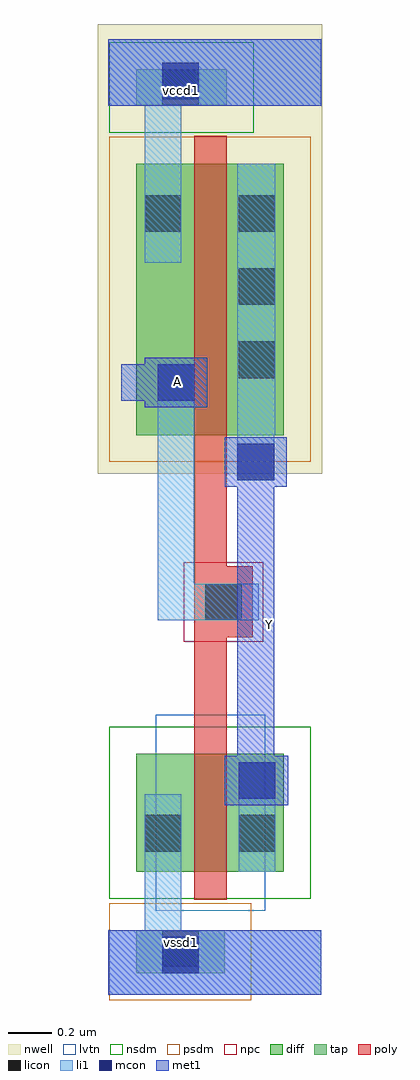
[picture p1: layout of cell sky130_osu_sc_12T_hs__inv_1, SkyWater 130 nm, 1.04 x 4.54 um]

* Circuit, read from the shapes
.subckt sky130_osu_sc_12T_hs__inv_1 A Y vccd1 vssd1
XM1 Y A vssd1 vssd1 sky130_fd_pr__nfet_01v8_lvt w=0.55 l=0.15
XM2 Y A vccd1 vccd1 sky130_fd_pr__pfet_01v8 w=1.26 l=0.15
.ends

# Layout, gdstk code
import gdstk
lib = gdstk.Library(unit=1e-6, precision=1e-09)
def R(c, l, rs):  # rectangles x0, y0, x1, y1
    for r in rs: c.add(gdstk.rectangle(r[:2], r[2:], *l))
nwell = (64, 20)
diff = (65, 20)
tap = (65, 44)
poly = (66, 20)
licon = (66, 44)
li1 = (67, 20)
mcon = (67, 44)
met1 = (68, 20)
nsdm = (93, 44)
psdm = (94, 20)
npc = (95, 20)
lvtn = (125, 44)

sky130_osu_sc_12t_hs__in = lib.new_cell('sky130_osu_sc_12T_hs__inv_1')
R(sky130_osu_sc_12t_hs__in, nwell, [(-0.05,2.42,0.995,4.51), (-0.05,2.42,0.995,4.51), (-0.05,2.42,0.995,4.51), (-0.05,2.42,0.995,4.51), (-0.05,2.42,0.995,4.51), (-0.05,2.42,0.995,4.51), (-0.05,2.42,0.995,4.51), (-0.05,2.42,0.995,4.51), (-0.05,2.42,0.995,4.51), (-0.05,2.42,0.995,4.51), (-0.05,2.42,0.995,4.51), (-0.05,2.42,0.995,4.51), (-0.05,2.42,0.995,4.51), (-0.05,2.42,0.995,4.51), (-0.05,2.42,0.995,4.51), (-0.05,2.42,0.995,4.51)])
R(sky130_osu_sc_12t_hs__in, diff, [(0.13,0.57,0.815,1.12), (0.13,0.57,0.815,1.12), (0.13,0.57,0.815,1.12), (0.13,0.57,0.815,1.12), (0.13,0.57,0.815,1.12), (0.13,0.57,0.815,1.12), (0.13,0.57,0.815,1.12), (0.13,0.57,0.815,1.12), (0.13,0.57,0.815,1.12), (0.13,0.57,0.815,1.12), (0.13,0.57,0.815,1.12), (0.13,0.57,0.815,1.12), (0.13,0.57,0.815,1.12), (0.13,0.57,0.815,1.12), (0.13,0.57,0.815,1.12), (0.13,0.57,0.815,1.12), (0.13,2.6,0.815,3.86), (0.13,2.6,0.815,3.86), (0.13,2.6,0.815,3.86), (0.13,2.6,0.815,3.86), (0.13,2.6,0.815,3.86), (0.13,2.6,0.815,3.86), (0.13,2.6,0.815,3.86), (0.13,2.6,0.815,3.86), (0.13,2.6,0.815,3.86), (0.13,2.6,0.815,3.86), (0.13,2.6,0.815,3.86), (0.13,2.6,0.815,3.86), (0.13,2.6,0.815,3.86), (0.13,2.6,0.815,3.86), (0.13,2.6,0.815,3.86), (0.13,2.6,0.815,3.86)])
R(sky130_osu_sc_12t_hs__in, tap, [(0.13,0.1,0.54,0.3), (0.13,0.1,0.54,0.3), (0.13,0.1,0.54,0.3), (0.13,0.1,0.54,0.3), (0.13,0.1,0.54,0.3), (0.13,0.1,0.54,0.3), (0.13,0.1,0.54,0.3), (0.13,0.1,0.54,0.3), (0.13,0.1,0.54,0.3), (0.13,0.1,0.54,0.3), (0.13,0.1,0.54,0.3), (0.13,0.1,0.54,0.3), (0.13,0.1,0.54,0.3), (0.13,0.1,0.54,0.3), (0.13,0.1,0.54,0.3), (0.13,0.1,0.54,0.3), (0.13,4.13,0.55,4.3), (0.13,4.13,0.55,4.3), (0.13,4.13,0.55,4.3), (0.13,4.13,0.55,4.3), (0.13,4.13,0.55,4.3), (0.13,4.13,0.55,4.3), (0.13,4.13,0.55,4.3), (0.13,4.13,0.55,4.3), (0.13,4.13,0.55,4.3), (0.13,4.13,0.55,4.3), (0.13,4.13,0.55,4.3), (0.13,4.13,0.55,4.3), (0.13,4.13,0.55,4.3), (0.13,4.13,0.55,4.3), (0.13,4.13,0.55,4.3), (0.13,4.13,0.55,4.3)])
R(sky130_osu_sc_12t_hs__in, poly, [(0.4,0.44,0.55,1.66), (0.4,0.44,0.55,1.66), (0.4,0.44,0.55,1.66), (0.4,0.44,0.55,1.66), (0.4,0.44,0.55,1.66), (0.4,0.44,0.55,1.66), (0.4,0.44,0.55,1.66), (0.4,0.44,0.55,1.66), (0.4,0.44,0.55,1.66), (0.4,0.44,0.55,1.66), (0.4,0.44,0.55,1.66), (0.4,0.44,0.55,1.66), (0.4,0.44,0.55,1.66), (0.4,0.44,0.55,1.66), (0.4,0.44,0.55,1.66), (0.4,0.44,0.55,1.66), (0.4,1.66,0.67,1.99), (0.4,1.66,0.67,1.99), (0.4,1.66,0.67,1.99), (0.4,1.66,0.67,1.99), (0.4,1.66,0.67,1.99), (0.4,1.66,0.67,1.99), (0.4,1.66,0.67,1.99), (0.4,1.66,0.67,1.99), (0.4,1.66,0.67,1.99), (0.4,1.66,0.67,1.99), (0.4,1.66,0.67,1.99), (0.4,1.66,0.67,1.99), (0.4,1.66,0.67,1.99), (0.4,1.66,0.67,1.99), (0.4,1.66,0.67,1.99), (0.4,1.66,0.67,1.99), (0.4,1.99,0.55,3.99), (0.4,1.99,0.55,3.99), (0.4,1.99,0.55,3.99), (0.4,1.99,0.55,3.99), (0.4,1.99,0.55,3.99), (0.4,1.99,0.55,3.99), (0.4,1.99,0.55,3.99), (0.4,1.99,0.55,3.99), (0.4,1.99,0.55,3.99), (0.4,1.99,0.55,3.99), (0.4,1.99,0.55,3.99), (0.4,1.99,0.55,3.99), (0.4,1.99,0.55,3.99), (0.4,1.99,0.55,3.99), (0.4,1.99,0.55,3.99), (0.4,1.99,0.55,3.99)])
R(sky130_osu_sc_12t_hs__in, licon, [(0.25,0.13,0.42,0.3), (0.25,0.13,0.42,0.3), (0.25,0.13,0.42,0.3), (0.25,0.13,0.42,0.3), (0.25,0.13,0.42,0.3), (0.25,0.13,0.42,0.3), (0.25,0.13,0.42,0.3), (0.25,0.13,0.42,0.3), (0.25,0.13,0.42,0.3), (0.25,0.13,0.42,0.3), (0.25,0.13,0.42,0.3), (0.25,0.13,0.42,0.3), (0.25,0.13,0.42,0.3), (0.25,0.13,0.42,0.3), (0.25,0.13,0.42,0.3), (0.25,0.13,0.42,0.3), (0.17,0.665,0.34,0.835), (0.17,0.665,0.34,0.835), (0.17,0.665,0.34,0.835), (0.17,0.665,0.34,0.835), (0.17,0.665,0.34,0.835), (0.17,0.665,0.34,0.835), (0.17,0.665,0.34,0.835), (0.17,0.665,0.34,0.835), (0.17,0.665,0.34,0.835), (0.17,0.665,0.34,0.835), (0.17,0.665,0.34,0.835), (0.17,0.665,0.34,0.835), (0.17,0.665,0.34,0.835), (0.17,0.665,0.34,0.835), (0.17,0.665,0.34,0.835), (0.17,0.665,0.34,0.835), (0.605,0.665,0.775,0.835), (0.605,0.665,0.775,0.835), (0.605,0.665,0.775,0.835), (0.605,0.665,0.775,0.835), (0.605,0.665,0.775,0.835), (0.605,0.665,0.775,0.835), (0.605,0.665,0.775,0.835), (0.605,0.665,0.775,0.835), (0.605,0.665,0.775,0.835), (0.605,0.665,0.775,0.835), (0.605,0.665,0.775,0.835), (0.605,0.665,0.775,0.835), (0.605,0.665,0.775,0.835), (0.605,0.665,0.775,0.835), (0.605,0.665,0.775,0.835), (0.605,0.665,0.775,0.835), (0.45,1.74,0.62,1.91), (0.45,1.74,0.62,1.91), (0.45,1.74,0.62,1.91), (0.45,1.74,0.62,1.91), (0.45,1.74,0.62,1.91), (0.45,1.74,0.62,1.91), (0.45,1.74,0.62,1.91), (0.45,1.74,0.62,1.91), (0.45,1.74,0.62,1.91), (0.45,1.74,0.62,1.91), (0.45,1.74,0.62,1.91), (0.45,1.74,0.62,1.91), (0.45,1.74,0.62,1.91), (0.45,1.74,0.62,1.91), (0.45,1.74,0.62,1.91), (0.45,1.74,0.62,1.91), (0.605,2.865,0.775,3.035), (0.605,2.865,0.775,3.035), (0.605,2.865,0.775,3.035), (0.605,2.865,0.775,3.035), (0.605,2.865,0.775,3.035), (0.605,2.865,0.775,3.035), (0.605,2.865,0.775,3.035), (0.605,2.865,0.775,3.035), (0.605,2.865,0.775,3.035), (0.605,2.865,0.775,3.035), (0.605,2.865,0.775,3.035), (0.605,2.865,0.775,3.035), (0.605,2.865,0.775,3.035), (0.605,2.865,0.775,3.035), (0.605,2.865,0.775,3.035), (0.605,2.865,0.775,3.035), (0.605,3.205,0.775,3.375), (0.605,3.205,0.775,3.375), (0.605,3.205,0.775,3.375), (0.605,3.205,0.775,3.375), (0.605,3.205,0.775,3.375), (0.605,3.205,0.775,3.375), (0.605,3.205,0.775,3.375), (0.605,3.205,0.775,3.375), (0.605,3.205,0.775,3.375), (0.605,3.205,0.775,3.375), (0.605,3.205,0.775,3.375), (0.605,3.205,0.775,3.375), (0.605,3.205,0.775,3.375), (0.605,3.205,0.775,3.375), (0.605,3.205,0.775,3.375), (0.605,3.205,0.775,3.375), (0.17,3.545,0.34,3.715), (0.17,3.545,0.34,3.715), (0.17,3.545,0.34,3.715), (0.17,3.545,0.34,3.715), (0.17,3.545,0.34,3.715), (0.17,3.545,0.34,3.715), (0.17,3.545,0.34,3.715), (0.17,3.545,0.34,3.715), (0.17,3.545,0.34,3.715), (0.17,3.545,0.34,3.715), (0.17,3.545,0.34,3.715), (0.17,3.545,0.34,3.715), (0.17,3.545,0.34,3.715), (0.17,3.545,0.34,3.715), (0.17,3.545,0.34,3.715), (0.17,3.545,0.34,3.715), (0.605,3.545,0.775,3.715), (0.605,3.545,0.775,3.715), (0.605,3.545,0.775,3.715), (0.605,3.545,0.775,3.715), (0.605,3.545,0.775,3.715), (0.605,3.545,0.775,3.715), (0.605,3.545,0.775,3.715), (0.605,3.545,0.775,3.715), (0.605,3.545,0.775,3.715), (0.605,3.545,0.775,3.715), (0.605,3.545,0.775,3.715), (0.605,3.545,0.775,3.715), (0.605,3.545,0.775,3.715), (0.605,3.545,0.775,3.715), (0.605,3.545,0.775,3.715), (0.605,3.545,0.775,3.715), (0.25,4.13,0.42,4.3), (0.25,4.13,0.42,4.3), (0.25,4.13,0.42,4.3), (0.25,4.13,0.42,4.3), (0.25,4.13,0.42,4.3), (0.25,4.13,0.42,4.3), (0.25,4.13,0.42,4.3), (0.25,4.13,0.42,4.3), (0.25,4.13,0.42,4.3), (0.25,4.13,0.42,4.3), (0.25,4.13,0.42,4.3), (0.25,4.13,0.42,4.3), (0.25,4.13,0.42,4.3), (0.25,4.13,0.42,4.3), (0.25,4.13,0.42,4.3), (0.25,4.13,0.42,4.3)])
R(sky130_osu_sc_12t_hs__in, li1, [(0,0,0.99,0.3), (0,0,0.99,0.3), (0,0,0.99,0.3), (0,0,0.99,0.3), (0,0,0.99,0.3), (0,0,0.99,0.3), (0,0,0.99,0.3), (0,0,0.99,0.3), (0,0,0.99,0.3), (0,0,0.99,0.3), (0,0,0.99,0.3), (0,0,0.99,0.3), (0,0,0.99,0.3), (0,0,0.99,0.3), (0,0,0.99,0.3), (0,0,0.99,0.3), (0.17,0.3,0.34,0.93), (0.17,0.3,0.34,0.93), (0.17,0.3,0.34,0.93), (0.17,0.3,0.34,0.93), (0.17,0.3,0.34,0.93), (0.17,0.3,0.34,0.93), (0.17,0.3,0.34,0.93), (0.17,0.3,0.34,0.93), (0.17,0.3,0.34,0.93), (0.17,0.3,0.34,0.93), (0.17,0.3,0.34,0.93), (0.17,0.3,0.34,0.93), (0.17,0.3,0.34,0.93), (0.17,0.3,0.34,0.93), (0.17,0.3,0.34,0.93), (0.17,0.3,0.34,0.93), (0.605,0.57,0.775,1.08), (0.605,0.57,0.775,1.08), (0.605,0.57,0.775,1.08), (0.605,0.57,0.775,1.08), (0.605,0.57,0.775,1.08), (0.605,0.57,0.775,1.08), (0.605,0.57,0.775,1.08), (0.605,0.57,0.775,1.08), (0.605,0.57,0.775,1.08), (0.605,0.57,0.775,1.08), (0.605,0.57,0.775,1.08), (0.605,0.57,0.775,1.08), (0.605,0.57,0.775,1.08), (0.605,0.57,0.775,1.08), (0.605,0.57,0.775,1.08), (0.605,0.57,0.775,1.08), (0.23,1.74,0.7,1.91), (0.23,1.74,0.7,1.91), (0.23,1.74,0.7,1.91), (0.23,1.74,0.7,1.91), (0.23,1.74,0.7,1.91), (0.23,1.74,0.7,1.91), (0.23,1.74,0.7,1.91), (0.23,1.74,0.7,1.91), (0.23,1.74,0.7,1.91), (0.23,1.74,0.7,1.91), (0.23,1.74,0.7,1.91), (0.23,1.74,0.7,1.91), (0.23,1.74,0.7,1.91), (0.23,1.74,0.7,1.91), (0.23,1.74,0.7,1.91), (0.23,1.74,0.7,1.91), (0.23,1.91,0.4,2.93), (0.23,1.91,0.4,2.93), (0.23,1.91,0.4,2.93), (0.23,1.91,0.4,2.93), (0.23,1.91,0.4,2.93), (0.23,1.91,0.4,2.93), (0.23,1.91,0.4,2.93), (0.23,1.91,0.4,2.93), (0.23,1.91,0.4,2.93), (0.23,1.91,0.4,2.93), (0.23,1.91,0.4,2.93), (0.23,1.91,0.4,2.93), (0.23,1.91,0.4,2.93), (0.23,1.91,0.4,2.93), (0.23,1.91,0.4,2.93), (0.23,1.91,0.4,2.93), (0.6,2.39,0.77,2.6), (0.6,2.39,0.77,2.6), (0.6,2.39,0.77,2.6), (0.6,2.39,0.77,2.6), (0.6,2.39,0.77,2.6), (0.6,2.39,0.77,2.6), (0.6,2.39,0.77,2.6), (0.6,2.39,0.77,2.6), (0.6,2.39,0.77,2.6), (0.6,2.39,0.77,2.6), (0.6,2.39,0.77,2.6), (0.6,2.39,0.77,2.6), (0.6,2.39,0.77,2.6), (0.6,2.39,0.77,2.6), (0.6,2.39,0.77,2.6), (0.6,2.39,0.77,2.6), (0.6,2.6,0.775,3.86), (0.6,2.6,0.775,3.86), (0.6,2.6,0.775,3.86), (0.6,2.6,0.775,3.86), (0.6,2.6,0.775,3.86), (0.6,2.6,0.775,3.86), (0.6,2.6,0.775,3.86), (0.6,2.6,0.775,3.86), (0.6,2.6,0.775,3.86), (0.6,2.6,0.775,3.86), (0.6,2.6,0.775,3.86), (0.6,2.6,0.775,3.86), (0.6,2.6,0.775,3.86), (0.6,2.6,0.775,3.86), (0.6,2.6,0.775,3.86), (0.6,2.6,0.775,3.86), (0.17,3.4,0.34,4.13), (0.17,3.4,0.34,4.13), (0.17,3.4,0.34,4.13), (0.17,3.4,0.34,4.13), (0.17,3.4,0.34,4.13), (0.17,3.4,0.34,4.13), (0.17,3.4,0.34,4.13), (0.17,3.4,0.34,4.13), (0.17,3.4,0.34,4.13), (0.17,3.4,0.34,4.13), (0.17,3.4,0.34,4.13), (0.17,3.4,0.34,4.13), (0.17,3.4,0.34,4.13), (0.17,3.4,0.34,4.13), (0.17,3.4,0.34,4.13), (0.17,3.4,0.34,4.13), (0,4.13,0.99,4.44), (0,4.13,0.99,4.44), (0,4.13,0.99,4.44), (0,4.13,0.99,4.44), (0,4.13,0.99,4.44), (0,4.13,0.99,4.44), (0,4.13,0.99,4.44), (0,4.13,0.99,4.44), (0,4.13,0.99,4.44), (0,4.13,0.99,4.44), (0,4.13,0.99,4.44), (0,4.13,0.99,4.44), (0,4.13,0.99,4.44), (0,4.13,0.99,4.44), (0,4.13,0.99,4.44), (0,4.13,0.99,4.44)])
R(sky130_osu_sc_12t_hs__in, mcon, [(0.25,0.1,0.42,0.27), (0.25,0.1,0.42,0.27), (0.25,0.1,0.42,0.27), (0.25,0.1,0.42,0.27), (0.25,0.1,0.42,0.27), (0.25,0.1,0.42,0.27), (0.25,0.1,0.42,0.27), (0.25,0.1,0.42,0.27), (0.25,0.1,0.42,0.27), (0.25,0.1,0.42,0.27), (0.25,0.1,0.42,0.27), (0.25,0.1,0.42,0.27), (0.25,0.1,0.42,0.27), (0.25,0.1,0.42,0.27), (0.25,0.1,0.42,0.27), (0.25,0.1,0.42,0.27), (0.605,0.91,0.775,1.08), (0.605,0.91,0.775,1.08), (0.605,0.91,0.775,1.08), (0.605,0.91,0.775,1.08), (0.605,0.91,0.775,1.08), (0.605,0.91,0.775,1.08), (0.605,0.91,0.775,1.08), (0.605,0.91,0.775,1.08), (0.605,0.91,0.775,1.08), (0.605,0.91,0.775,1.08), (0.605,0.91,0.775,1.08), (0.605,0.91,0.775,1.08), (0.605,0.91,0.775,1.08), (0.605,0.91,0.775,1.08), (0.605,0.91,0.775,1.08), (0.605,0.91,0.775,1.08), (0.6,2.39,0.77,2.56), (0.6,2.39,0.77,2.56), (0.6,2.39,0.77,2.56), (0.6,2.39,0.77,2.56), (0.6,2.39,0.77,2.56), (0.6,2.39,0.77,2.56), (0.6,2.39,0.77,2.56), (0.6,2.39,0.77,2.56), (0.6,2.39,0.77,2.56), (0.6,2.39,0.77,2.56), (0.6,2.39,0.77,2.56), (0.6,2.39,0.77,2.56), (0.6,2.39,0.77,2.56), (0.6,2.39,0.77,2.56), (0.6,2.39,0.77,2.56), (0.6,2.39,0.77,2.56), (0.23,2.76,0.4,2.93), (0.23,2.76,0.4,2.93), (0.23,2.76,0.4,2.93), (0.23,2.76,0.4,2.93), (0.23,2.76,0.4,2.93), (0.23,2.76,0.4,2.93), (0.23,2.76,0.4,2.93), (0.23,2.76,0.4,2.93), (0.23,2.76,0.4,2.93), (0.23,2.76,0.4,2.93), (0.23,2.76,0.4,2.93), (0.23,2.76,0.4,2.93), (0.23,2.76,0.4,2.93), (0.23,2.76,0.4,2.93), (0.23,2.76,0.4,2.93), (0.23,2.76,0.4,2.93), (0.25,4.16,0.42,4.33), (0.25,4.16,0.42,4.33), (0.25,4.16,0.42,4.33), (0.25,4.16,0.42,4.33), (0.25,4.16,0.42,4.33), (0.25,4.16,0.42,4.33), (0.25,4.16,0.42,4.33), (0.25,4.16,0.42,4.33), (0.25,4.16,0.42,4.33), (0.25,4.16,0.42,4.33), (0.25,4.16,0.42,4.33), (0.25,4.16,0.42,4.33), (0.25,4.16,0.42,4.33), (0.25,4.16,0.42,4.33), (0.25,4.16,0.42,4.33), (0.25,4.16,0.42,4.33)])
R(sky130_osu_sc_12t_hs__in, met1, [(0,0,0.99,0.3), (0,0,0.99,0.3), (0,0,0.99,0.3), (0,0,0.99,0.3), (0,0,0.99,0.3), (0,0,0.99,0.3), (0,0,0.99,0.3), (0,0,0.99,0.3), (0,0,0.99,0.3), (0,0,0.99,0.3), (0,0,0.99,0.3), (0,0,0.99,0.3), (0,0,0.99,0.3), (0,0,0.99,0.3), (0,0,0.99,0.3), (0,0,0.99,0.3), (0.54,0.88,0.835,1.11), (0.54,0.88,0.835,1.11), (0.54,0.88,0.835,1.11), (0.54,0.88,0.835,1.11), (0.54,0.88,0.835,1.11), (0.54,0.88,0.835,1.11), (0.54,0.88,0.835,1.11), (0.54,0.88,0.835,1.11), (0.54,0.88,0.835,1.11), (0.54,0.88,0.835,1.11), (0.54,0.88,0.835,1.11), (0.54,0.88,0.835,1.11), (0.54,0.88,0.835,1.11), (0.54,0.88,0.835,1.11), (0.54,0.88,0.835,1.11), (0.54,0.88,0.835,1.11), (0.6,1.11,0.77,2.36), (0.6,1.11,0.77,2.36), (0.6,1.11,0.77,2.36), (0.6,1.11,0.77,2.36), (0.6,1.11,0.77,2.36), (0.6,1.11,0.77,2.36), (0.6,1.11,0.77,2.36), (0.6,1.11,0.77,2.36), (0.6,1.11,0.77,2.36), (0.6,1.11,0.77,2.36), (0.6,1.11,0.77,2.36), (0.6,1.11,0.77,2.36), (0.6,1.11,0.77,2.36), (0.6,1.11,0.77,2.36), (0.6,1.11,0.77,2.36), (0.6,1.11,0.77,2.36), (0.54,2.36,0.83,2.59), (0.54,2.36,0.83,2.59), (0.54,2.36,0.83,2.59), (0.54,2.36,0.83,2.59), (0.54,2.36,0.83,2.59), (0.54,2.36,0.83,2.59), (0.54,2.36,0.83,2.59), (0.54,2.36,0.83,2.59), (0.54,2.36,0.83,2.59), (0.54,2.36,0.83,2.59), (0.54,2.36,0.83,2.59), (0.54,2.36,0.83,2.59), (0.54,2.36,0.83,2.59), (0.54,2.36,0.83,2.59), (0.54,2.36,0.83,2.59), (0.54,2.36,0.83,2.59), (0.17,2.73,0.46,2.76), (0.17,2.73,0.46,2.76), (0.17,2.73,0.46,2.76), (0.17,2.73,0.46,2.76), (0.17,2.73,0.46,2.76), (0.17,2.73,0.46,2.76), (0.17,2.73,0.46,2.76), (0.17,2.73,0.46,2.76), (0.17,2.73,0.46,2.76), (0.17,2.73,0.46,2.76), (0.17,2.73,0.46,2.76), (0.17,2.73,0.46,2.76), (0.17,2.73,0.46,2.76), (0.17,2.73,0.46,2.76), (0.17,2.73,0.46,2.76), (0.17,2.73,0.46,2.76), (0.06,2.76,0.46,2.93), (0.06,2.76,0.46,2.93), (0.06,2.76,0.46,2.93), (0.06,2.76,0.46,2.93), (0.06,2.76,0.46,2.93), (0.06,2.76,0.46,2.93), (0.06,2.76,0.46,2.93), (0.06,2.76,0.46,2.93), (0.06,2.76,0.46,2.93), (0.06,2.76,0.46,2.93), (0.06,2.76,0.46,2.93), (0.06,2.76,0.46,2.93), (0.06,2.76,0.46,2.93), (0.06,2.76,0.46,2.93), (0.06,2.76,0.46,2.93), (0.06,2.76,0.46,2.93), (0.17,2.93,0.46,2.96), (0.17,2.93,0.46,2.96), (0.17,2.93,0.46,2.96), (0.17,2.93,0.46,2.96), (0.17,2.93,0.46,2.96), (0.17,2.93,0.46,2.96), (0.17,2.93,0.46,2.96), (0.17,2.93,0.46,2.96), (0.17,2.93,0.46,2.96), (0.17,2.93,0.46,2.96), (0.17,2.93,0.46,2.96), (0.17,2.93,0.46,2.96), (0.17,2.93,0.46,2.96), (0.17,2.93,0.46,2.96), (0.17,2.93,0.46,2.96), (0.17,2.93,0.46,2.96), (0,4.13,0.99,4.44), (0,4.13,0.99,4.44), (0,4.13,0.99,4.44), (0,4.13,0.99,4.44), (0,4.13,0.99,4.44), (0,4.13,0.99,4.44), (0,4.13,0.99,4.44), (0,4.13,0.99,4.44), (0,4.13,0.99,4.44), (0,4.13,0.99,4.44), (0,4.13,0.99,4.44), (0,4.13,0.99,4.44), (0,4.13,0.99,4.44), (0,4.13,0.99,4.44), (0,4.13,0.99,4.44), (0,4.13,0.99,4.44)])
R(sky130_osu_sc_12t_hs__in, nsdm, [(0.005,0.445,0.94,1.245), (0.005,0.445,0.94,1.245), (0.005,0.445,0.94,1.245), (0.005,0.445,0.94,1.245), (0.005,0.445,0.94,1.245), (0.005,0.445,0.94,1.245), (0.005,0.445,0.94,1.245), (0.005,0.445,0.94,1.245), (0.005,0.445,0.94,1.245), (0.005,0.445,0.94,1.245), (0.005,0.445,0.94,1.245), (0.005,0.445,0.94,1.245), (0.005,0.445,0.94,1.245), (0.005,0.445,0.94,1.245), (0.005,0.445,0.94,1.245), (0.005,0.445,0.94,1.245), (0.005,4.005,0.675,4.425), (0.005,4.005,0.675,4.425), (0.005,4.005,0.675,4.425), (0.005,4.005,0.675,4.425), (0.005,4.005,0.675,4.425), (0.005,4.005,0.675,4.425), (0.005,4.005,0.675,4.425), (0.005,4.005,0.675,4.425), (0.005,4.005,0.675,4.425), (0.005,4.005,0.675,4.425), (0.005,4.005,0.675,4.425), (0.005,4.005,0.675,4.425), (0.005,4.005,0.675,4.425), (0.005,4.005,0.675,4.425), (0.005,4.005,0.675,4.425), (0.005,4.005,0.675,4.425)])
R(sky130_osu_sc_12t_hs__in, psdm, [(0.005,-0.025,0.665,0.425), (0.005,-0.025,0.665,0.425), (0.005,-0.025,0.665,0.425), (0.005,-0.025,0.665,0.425), (0.005,-0.025,0.665,0.425), (0.005,-0.025,0.665,0.425), (0.005,-0.025,0.665,0.425), (0.005,-0.025,0.665,0.425), (0.005,-0.025,0.665,0.425), (0.005,-0.025,0.665,0.425), (0.005,-0.025,0.665,0.425), (0.005,-0.025,0.665,0.425), (0.005,-0.025,0.665,0.425), (0.005,-0.025,0.665,0.425), (0.005,-0.025,0.665,0.425), (0.005,-0.025,0.665,0.425), (0.005,2.475,0.94,3.985), (0.005,2.475,0.94,3.985), (0.005,2.475,0.94,3.985), (0.005,2.475,0.94,3.985), (0.005,2.475,0.94,3.985), (0.005,2.475,0.94,3.985), (0.005,2.475,0.94,3.985), (0.005,2.475,0.94,3.985), (0.005,2.475,0.94,3.985), (0.005,2.475,0.94,3.985), (0.005,2.475,0.94,3.985), (0.005,2.475,0.94,3.985), (0.005,2.475,0.94,3.985), (0.005,2.475,0.94,3.985), (0.005,2.475,0.94,3.985), (0.005,2.475,0.94,3.985)])
R(sky130_osu_sc_12t_hs__in, npc, [(0.35,1.64,0.72,2.01), (0.35,1.64,0.72,2.01), (0.35,1.64,0.72,2.01), (0.35,1.64,0.72,2.01), (0.35,1.64,0.72,2.01), (0.35,1.64,0.72,2.01), (0.35,1.64,0.72,2.01), (0.35,1.64,0.72,2.01), (0.35,1.64,0.72,2.01), (0.35,1.64,0.72,2.01), (0.35,1.64,0.72,2.01), (0.35,1.64,0.72,2.01), (0.35,1.64,0.72,2.01), (0.35,1.64,0.72,2.01), (0.35,1.64,0.72,2.01), (0.35,1.64,0.72,2.01)])
R(sky130_osu_sc_12t_hs__in, lvtn, [(0.22,0.39,0.73,1.3), (0.22,0.39,0.73,1.3), (0.22,0.39,0.73,1.3), (0.22,0.39,0.73,1.3), (0.22,0.39,0.73,1.3), (0.22,0.39,0.73,1.3), (0.22,0.39,0.73,1.3), (0.22,0.39,0.73,1.3), (0.22,0.39,0.73,1.3), (0.22,0.39,0.73,1.3), (0.22,0.39,0.73,1.3), (0.22,0.39,0.73,1.3), (0.22,0.39,0.73,1.3), (0.22,0.39,0.73,1.3), (0.22,0.39,0.73,1.3), (0.22,0.39,0.73,1.3)])
sky130_osu_sc_12t_hs__in.add(gdstk.Label('Y', (0.75,1.72), layer=68, texttype=5))
sky130_osu_sc_12t_hs__in.add(gdstk.Label('A', (0.32,2.85), layer=68, texttype=5))
sky130_osu_sc_12t_hs__in.add(gdstk.Label('vccd1', (0.34,4.2), layer=68, texttype=5))
sky130_osu_sc_12t_hs__in.add(gdstk.Label('vssd1', (0.34,0.24), layer=68, texttype=5))
sky130_osu_sc_12t_hs__in.add(gdstk.Label('Y', (0.75,1.72), layer=68, texttype=5))
sky130_osu_sc_12t_hs__in.add(gdstk.Label('A', (0.32,2.85), layer=68, texttype=5))
sky130_osu_sc_12t_hs__in.add(gdstk.Label('vccd1', (0.34,4.2), layer=68, texttype=5))
sky130_osu_sc_12t_hs__in.add(gdstk.Label('vssd1', (0.34,0.24), layer=68, texttype=5))
sky130_osu_sc_12t_hs__in.add(gdstk.Label('Y', (0.75,1.72), layer=68, texttype=5))
sky130_osu_sc_12t_hs__in.add(gdstk.Label('A', (0.32,2.85), layer=68, texttype=5))
sky130_osu_sc_12t_hs__in.add(gdstk.Label('vccd1', (0.34,4.2), layer=68, texttype=5))
sky130_osu_sc_12t_hs__in.add(gdstk.Label('vssd1', (0.34,0.24), layer=68, texttype=5))
sky130_osu_sc_12t_hs__in.add(gdstk.Label('Y', (0.75,1.72), layer=68, texttype=5))
sky130_osu_sc_12t_hs__in.add(gdstk.Label('A', (0.32,2.85), layer=68, texttype=5))
sky130_osu_sc_12t_hs__in.add(gdstk.Label('vccd1', (0.34,4.2), layer=68, texttype=5))
sky130_osu_sc_12t_hs__in.add(gdstk.Label('vssd1', (0.34,0.24), layer=68, texttype=5))
sky130_osu_sc_12t_hs__in.add(gdstk.Label('Y', (0.75,1.72), layer=68, texttype=5))
sky130_osu_sc_12t_hs__in.add(gdstk.Label('A', (0.32,2.85), layer=68, texttype=5))
sky130_osu_sc_12t_hs__in.add(gdstk.Label('vccd1', (0.34,4.2), layer=68, texttype=5))
sky130_osu_sc_12t_hs__in.add(gdstk.Label('vssd1', (0.34,0.24), layer=68, texttype=5))
sky130_osu_sc_12t_hs__in.add(gdstk.Label('Y', (0.75,1.72), layer=68, texttype=5))
sky130_osu_sc_12t_hs__in.add(gdstk.Label('A', (0.32,2.85), layer=68, texttype=5))
sky130_osu_sc_12t_hs__in.add(gdstk.Label('vccd1', (0.34,4.2), layer=68, texttype=5))
sky130_osu_sc_12t_hs__in.add(gdstk.Label('vssd1', (0.34,0.24), layer=68, texttype=5))
sky130_osu_sc_12t_hs__in.add(gdstk.Label('Y', (0.75,1.72), layer=68, texttype=5))
sky130_osu_sc_12t_hs__in.add(gdstk.Label('A', (0.32,2.85), layer=68, texttype=5))
sky130_osu_sc_12t_hs__in.add(gdstk.Label('vccd1', (0.34,4.2), layer=68, texttype=5))
sky130_osu_sc_12t_hs__in.add(gdstk.Label('vssd1', (0.34,0.24), layer=68, texttype=5))
sky130_osu_sc_12t_hs__in.add(gdstk.Label('Y', (0.75,1.72), layer=68, texttype=5))
sky130_osu_sc_12t_hs__in.add(gdstk.Label('A', (0.32,2.85), layer=68, texttype=5))
sky130_osu_sc_12t_hs__in.add(gdstk.Label('vccd1', (0.34,4.2), layer=68, texttype=5))
sky130_osu_sc_12t_hs__in.add(gdstk.Label('vssd1', (0.34,0.24), layer=68, texttype=5))
sky130_osu_sc_12t_hs__in.add(gdstk.Label('Y', (0.75,1.72), layer=68, texttype=5))
sky130_osu_sc_12t_hs__in.add(gdstk.Label('A', (0.32,2.85), layer=68, texttype=5))
sky130_osu_sc_12t_hs__in.add(gdstk.Label('vccd1', (0.34,4.2), layer=68, texttype=5))
sky130_osu_sc_12t_hs__in.add(gdstk.Label('vssd1', (0.34,0.24), layer=68, texttype=5))
sky130_osu_sc_12t_hs__in.add(gdstk.Label('Y', (0.75,1.72), layer=68, texttype=5))
sky130_osu_sc_12t_hs__in.add(gdstk.Label('A', (0.32,2.85), layer=68, texttype=5))
sky130_osu_sc_12t_hs__in.add(gdstk.Label('vccd1', (0.34,4.2), layer=68, texttype=5))
sky130_osu_sc_12t_hs__in.add(gdstk.Label('vssd1', (0.34,0.24), layer=68, texttype=5))
sky130_osu_sc_12t_hs__in.add(gdstk.Label('Y', (0.75,1.72), layer=68, texttype=5))
sky130_osu_sc_12t_hs__in.add(gdstk.Label('A', (0.32,2.85), layer=68, texttype=5))
sky130_osu_sc_12t_hs__in.add(gdstk.Label('vccd1', (0.34,4.2), layer=68, texttype=5))
sky130_osu_sc_12t_hs__in.add(gdstk.Label('vssd1', (0.34,0.24), layer=68, texttype=5))
sky130_osu_sc_12t_hs__in.add(gdstk.Label('Y', (0.75,1.72), layer=68, texttype=5))
sky130_osu_sc_12t_hs__in.add(gdstk.Label('A', (0.32,2.85), layer=68, texttype=5))
sky130_osu_sc_12t_hs__in.add(gdstk.Label('vccd1', (0.34,4.2), layer=68, texttype=5))
sky130_osu_sc_12t_hs__in.add(gdstk.Label('vssd1', (0.34,0.24), layer=68, texttype=5))
sky130_osu_sc_12t_hs__in.add(gdstk.Label('Y', (0.75,1.72), layer=68, texttype=5))
sky130_osu_sc_12t_hs__in.add(gdstk.Label('A', (0.32,2.85), layer=68, texttype=5))
sky130_osu_sc_12t_hs__in.add(gdstk.Label('vccd1', (0.34,4.2), layer=68, texttype=5))
sky130_osu_sc_12t_hs__in.add(gdstk.Label('vssd1', (0.34,0.24), layer=68, texttype=5))
sky130_osu_sc_12t_hs__in.add(gdstk.Label('Y', (0.75,1.72), layer=68, texttype=5))
sky130_osu_sc_12t_hs__in.add(gdstk.Label('A', (0.32,2.85), layer=68, texttype=5))
sky130_osu_sc_12t_hs__in.add(gdstk.Label('vccd1', (0.34,4.2), layer=68, texttype=5))
sky130_osu_sc_12t_hs__in.add(gdstk.Label('vssd1', (0.34,0.24), layer=68, texttype=5))
sky130_osu_sc_12t_hs__in.add(gdstk.Label('Y', (0.75,1.72), layer=68, texttype=5))
sky130_osu_sc_12t_hs__in.add(gdstk.Label('A', (0.32,2.85), layer=68, texttype=5))
sky130_osu_sc_12t_hs__in.add(gdstk.Label('vccd1', (0.34,4.2), layer=68, texttype=5))
sky130_osu_sc_12t_hs__in.add(gdstk.Label('vssd1', (0.34,0.24), layer=68, texttype=5))
sky130_osu_sc_12t_hs__in.add(gdstk.Label('Y', (0.75,1.72), layer=68, texttype=5))
sky130_osu_sc_12t_hs__in.add(gdstk.Label('A', (0.32,2.85), layer=68, texttype=5))
sky130_osu_sc_12t_hs__in.add(gdstk.Label('vccd1', (0.34,4.2), layer=68, texttype=5))
sky130_osu_sc_12t_hs__in.add(gdstk.Label('vssd1', (0.34,0.24), layer=68, texttype=5))

lib.write_gds('sky130_osu_sc_12T_hs__inv_1.gds')
